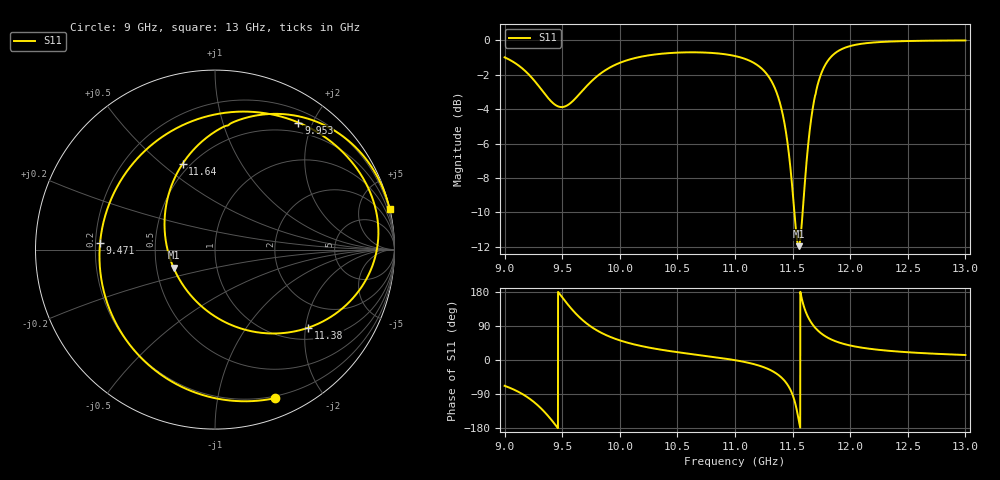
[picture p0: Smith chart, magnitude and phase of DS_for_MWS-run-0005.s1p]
! TOUCHSTONE file generated by CST DESIGN STUDIO
! Date and time: Tue Feb  4 14:21:42 2025
! Project name: C:\Work\MatlabApps\UnitCellOptimizationMatlab\CST\unitcell.cst
! Tree item: Tasks\Sweep1\SPara1\S-Parameters
! Header version: 2024
! Port assignment regex: !\s*Touchstone port\s*([0-9]+)\s*=\s*(CST MWS port|CST DES external port|CST DES block port)\s*(.+)\s* \(\"(.*)\"\)(\s*mode\s*([0-9]+))?.*
! Touchstone port assignment:
! Touchstone port 1 = CST DES external port 1 ("")
# GHz S MA R 50
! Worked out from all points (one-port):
!   4001 points, 9 GHz to 13 GHz, reference 50 ohm
!   lowest |S11| = -12.0 dB at 11.55 GHz (marker M1), VSWR 1.67, Z = 30.7 - j6.66 ohm
!   |S11| at or under -10 dB: 11.52 GHz to 11.59 GHz (71.67 MHz wide, 0.62 % of centre)
!   S11 on the Smith chart (normalised r, x): 9 GHz: 0.18, -1.46; 9.471 GHz: 0.22, +0.03; 9.953 GHz: 0.36, +1.80; 11.38 GHz: 1.28, -2.07; 11.64 GHz: 0.45, +0.59; 13 GHz: 0.03, +8.65
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9  0.8925 -68.1
9.146  0.8327 -88.4
9.255  0.7657 -111.0
9.378  0.6796 -147.8
9.471  0.6415 176.9
9.5  0.6398 165.3
9.599  0.6696 128.7
9.694  0.7251 100.9
9.803  0.7865 77.9
9.953  0.8468 56.7
10  0.8603 51.8
10.215  0.9003 35.0
10.5  0.9211 20.7
11  0.9005 -0.4
11.233  0.8271 -17.2
11.379  0.6772 -40.0
11.448  0.5256 -61.7
11.5  0.3646 -91.9
11.552  0.2522 -156.3
11.594  0.3395 145.3
11.639  0.5122 110.5
11.691  0.6804 86.8
11.752  0.8062 69.3
11.86  0.9128 51.0
12  0.9626 38.2
12.198  0.9855 28.5
12.5  0.9954 20.5
13  0.9992 13.2
